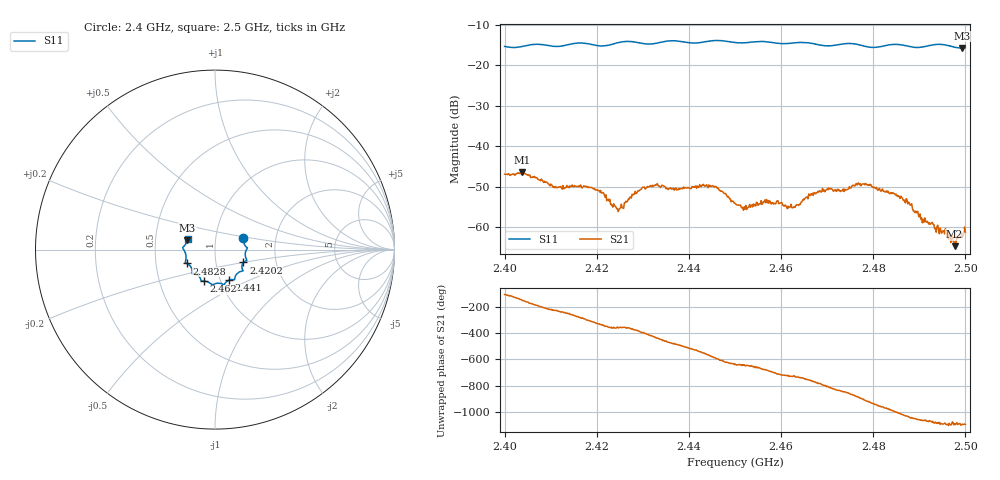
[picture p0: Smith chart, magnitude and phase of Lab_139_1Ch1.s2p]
# Hz S RI R 50
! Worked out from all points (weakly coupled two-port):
!   601 points, 2.4 GHz to 2.5 GHz, reference 50 ohm
!   highest |S21| = -46.38 dB at 2.4038 GHz (marker M1); lowest = -64.6 dB at 2.4977 GHz (marker M2)
!   lowest |S11| = -15.8 dB at 2.4993 GHz (marker M3), VSWR 1.39, Z = 36.5 + j3.84 ohm
!   |S11| at or under -10 dB: start of sweep to end of sweep
!   S12 and S22 are empty: the file has one direction only
!   S11 on the Smith chart (normalised r, x): 2.4 GHz: 1.36, +0.18; 2.4202 GHz: 1.36, -0.20; 2.441 GHz: 1.10, -0.39; 2.462 GHz: 0.84, -0.30; 2.4828 GHz: 0.72, -0.11; 2.5 GHz: 0.73, +0.09
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2.4e9  0.1582 0.0625  -0.00145 -0.0043  0 0  0 0
2.403833e9  0.1687 0.0212  -0.00429 -0.00214  0 0  0 0
2.411e9  0.1691 -0.0167  -0.00206 0.00244  0 0  0 0
2.416667e9  0.1774 -0.0606  0.00105 0.00294  0 0  0 0
2.420167e9  0.1585 -0.0714  0.0025 0.0014  0 0  0 0
2.424667e9  0.1533 -0.1114  0.00156 -5.76e-05  0 0  0 0
2.429833e9  0.1382 -0.1236  0.00243 -0.00189  0 0  0 0
2.433333e9  0.1122 -0.1509  0.000455 -0.00321  0 0  0 0
2.441e9  0.0785 -0.1698  -0.00302 -0.000789  0 0  0 0
2.4455e9  0.0513 -0.1942  -0.00212 0.0023  0 0  0 0
2.45e9  0.0285 -0.1879  0.000194 0.00197  0 0  0 0
2.452167e9  0.00674 -0.1886  0.000522 0.00159  0 0  0 0
2.462e9  -0.0603 -0.1759  0.00176 -0.000289  0 0  0 0
2.466667e9  -0.0787 -0.1681  0.00187 -0.00168  0 0  0 0
2.476667e9  -0.127 -0.1268  -0.00336 -0.000994  0 0  0 0
2.482833e9  -0.1572 -0.0769  -0.000962 0.00266  0 0  0 0
2.483333e9  -0.1604 -0.0754  -0.000457 0.00264  0 0  0 0
2.487667e9  -0.1619 -0.0534  0.00147 0.00144  0 0  0 0
2.4905e9  -0.1655 -0.0175  0.00123 0.000447  0 0  0 0
2.497667e9  -0.1637 0.0301  0.000579 -9.6e-05  0 0  0 0
2.499333e9  -0.1541 0.0513  0.000729 -0.000159  0 0  0 0
2.5e9  -0.1524 0.0607  0.000853 -0.000199  0 0  0 0
